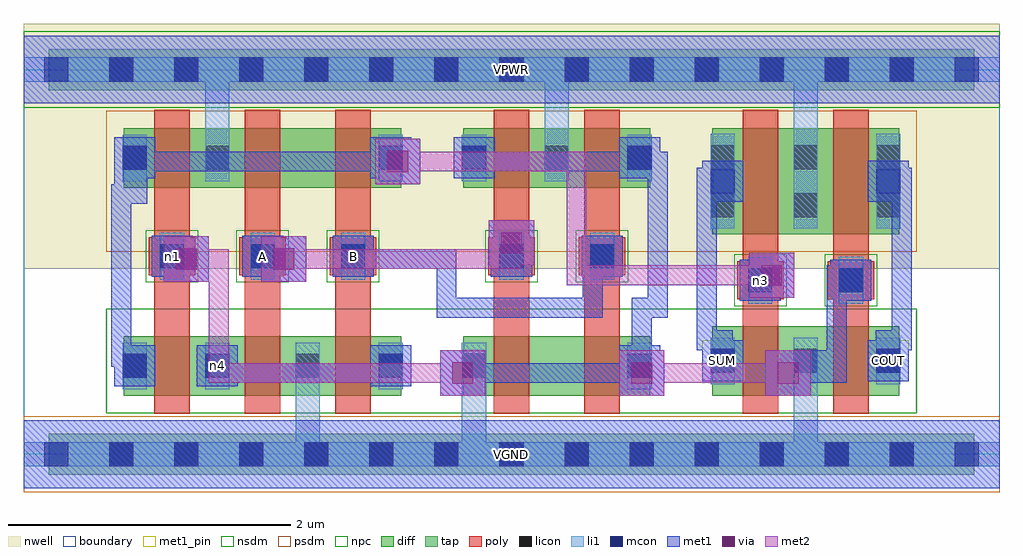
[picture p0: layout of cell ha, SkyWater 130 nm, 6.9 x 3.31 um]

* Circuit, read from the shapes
.subckt ha A B COUT SUM VGND VPWR n1 n3 n4
XM1 n4 n1 n3 VGND sky130_fd_pr__nfet_01v8 w=0.42 l=0.25
XM2 VGND A n4 VGND sky130_fd_pr__nfet_01v8 w=0.42 l=0.25
XM3 n4 B VGND VGND sky130_fd_pr__nfet_01v8 w=0.42 l=0.25
XM4 n2 A VGND VGND sky130_fd_pr__nfet_01v8 w=0.42 l=0.25
XM5 n1 B n2 VGND sky130_fd_pr__nfet_01v8 w=0.42 l=0.25
XM6 VGND n3 SUM VGND sky130_fd_pr__nfet_01v8 w=0.49 l=0.25
XM7 COUT n1 VGND VGND sky130_fd_pr__nfet_01v8 w=0.49 l=0.25
XM8 VPWR n1 n3 VPWR sky130_fd_pr__pfet_01v8 w=0.42 l=0.25
XM9 n5 A VPWR VPWR sky130_fd_pr__pfet_01v8 w=0.42 l=0.25
XM10 n3 B n5 VPWR sky130_fd_pr__pfet_01v8 w=0.42 l=0.25
XM11 VPWR A n1 VPWR sky130_fd_pr__pfet_01v8 w=0.42 l=0.25
XM12 n1 B VPWR VPWR sky130_fd_pr__pfet_01v8 w=0.42 l=0.25
XM13 VPWR n3 SUM VPWR sky130_fd_pr__pfet_01v8 w=0.75 l=0.25
XM14 COUT n1 VPWR VPWR sky130_fd_pr__pfet_01v8 w=0.75 l=0.25
.ends

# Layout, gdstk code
import gdstk
lib = gdstk.Library(unit=1e-6, precision=1e-09)
def R(c, l, rs):  # rectangles x0, y0, x1, y1
    for r in rs: c.add(gdstk.rectangle(r[:2], r[2:], *l))
def A(c, l, x, y, w, h, nx, ny, dx, dy):  # array of equal rectangles
    R(c, l, [(x+i*dx, y+j*dy, x+i*dx+w, y+j*dy+h) for i in range(nx) for j in range(ny)])
nwell = (64, 20)
diff = (65, 20)
tap = (65, 44)
poly = (66, 20)
licon = (66, 44)
li1 = (67, 20)
mcon = (67, 44)
met1_pin = (68, 16)
met1 = (68, 20)
via = (68, 44)
met2 = (69, 20)
nsdm = (93, 44)
psdm = (94, 20)
npc = (95, 20)
boundary = (235, 4)

c_ha = lib.new_cell('ha')
R(c_ha, nwell, [(0,1.31,6.9,3.045)])
R(c_ha, diff, [(0.71,0.415,2.67,0.835), (3.11,0.415,4.43,0.835), (4.87,0.415,6.19,0.905), (4.87,1.555,6.19,2.305), (0.71,1.885,2.67,2.305), (3.11,1.885,4.43,2.305)])
R(c_ha, tap, [(0.18,-0.145,6.72,0.145), (0.18,2.575,6.72,2.865)])
A(c_ha, poly, 0.925, 0.285, 0.25, 2.15, 3, 1, 0.64, 0)
A(c_ha, poly, 0.885, 1.265, 0.33, 0.27, 3, 1, 0.64, 0)
R(c_ha, poly, [(3.325,0.285,3.575,2.435), (3.965,0.285,4.215,2.435), (5.085,0.285,5.335,2.435), (5.725,0.285,5.975,2.435), (5.045,1.095,5.375,1.365), (5.685,1.095,6.015,1.365), (3.285,1.265,3.615,1.535), (3.925,1.265,4.255,1.535)])
A(c_ha, licon, 0.605, -0.085, 0.17, 0.17, 13, 2, 0.46, 2.72)
A(c_ha, licon, 4.86, 0.575, 0.17, 0.17, 3, 2, 0.585, 1.1)
A(c_ha, licon, 0.965, 1.315, 0.17, 0.17, 3, 1, 0.64, 0)
A(c_ha, licon, 3.1, 2.01, 0.17, 0.17, 3, 1, 0.585, 0)
A(c_ha, licon, 4.86, 2.015, 0.17, 0.17, 3, 1, 0.585, 0)
R(c_ha, licon, [(0.7,0.54,0.87,0.71), (1.285,0.54,1.455,0.71), (1.925,0.54,2.095,0.71), (2.51,0.54,2.68,0.71), (3.1,0.54,3.27,0.71), (4.27,0.54,4.44,0.71), (5.125,1.145,5.295,1.315), (5.765,1.145,5.935,1.315), (3.365,1.315,3.535,1.485), (4.005,1.315,4.175,1.485), (0.7,2.01,0.87,2.18), (1.285,2.01,1.455,2.18), (2.51,2.01,2.68,2.18)])
A(c_ha, li1, 4.86, 0.495, 0.17, 0.33, 3, 1, 0.585, 0)
A(c_ha, li1, 0.965, 1.235, 0.17, 0.33, 3, 1, 0.64, 0)
A(c_ha, li1, 4.86, 1.595, 0.17, 0.67, 3, 1, 0.585, 0)
A(c_ha, li1, 3.1, 1.93, 0.17, 0.33, 3, 1, 0.585, 0)
R(c_ha, li1, [(0,-0.085,6.9,0.085), (1.925,-0.085,2.095,0.79), (3.1,-0.085,3.27,0.79), (5.445,-0.085,5.615,0.825), (0.7,0.46,0.87,0.79), (1.285,0.46,1.455,0.79), (1.925,0.46,2.095,0.79), (2.51,0.46,2.68,0.79), (3.1,0.46,3.27,0.79), (4.27,0.46,4.44,0.79), (5.125,1.065,5.295,1.395), (5.765,1.065,5.935,1.395), (3.365,1.235,3.535,1.565), (4.005,1.235,4.175,1.565), (5.445,1.595,5.615,2.805), (0.7,1.93,0.87,2.26), (1.285,1.93,1.455,2.26), (1.285,1.93,1.455,2.805), (2.51,1.93,2.68,2.26), (3.685,1.93,3.855,2.805), (0,2.635,6.9,2.805)])
A(c_ha, mcon, 0.145, -0.085, 0.17, 0.17, 15, 2, 0.46, 2.72)
A(c_ha, mcon, 0.965, 1.315, 0.17, 0.17, 3, 1, 0.64, 0)
R(c_ha, mcon, [(0.7,0.54,0.87,0.71), (1.285,0.54,1.455,0.71), (2.51,0.54,2.68,0.71), (4.27,0.54,4.44,0.71), (4.86,0.575,5.03,0.745), (6.03,0.575,6.2,0.745), (5.125,1.145,5.295,1.315), (5.765,1.145,5.935,1.315), (3.365,1.315,3.535,1.485), (4.005,1.315,4.175,1.485), (4.86,1.845,5.03,2.015), (6.03,1.845,6.2,2.015), (0.7,2.01,0.87,2.18), (2.51,2.01,2.68,2.18), (3.1,2.01,3.27,2.18), (4.27,2.01,4.44,2.18)])
R(c_ha, met1_pin, [(0,-0.24,6.9,0.24), (4.8,0.515,5.09,0.805), (5.97,0.515,6.26,0.805), (1.545,1.255,1.835,1.545), (2.185,1.255,2.475,1.545), (0,2.48,6.9,2.96)])
A(c_ha, met1, 0.905, 1.255, 0.29, 0.29, 3, 1, 0.64, 0)
R(c_ha, met1, [(0,-0.24,6.9,0.24), (2.945,0.415,3.265,0.735), (4.21,0.415,4.53,0.735), (5.245,0.415,5.565,0.735), (0.64,0.48,0.93,0.77), (1.225,0.48,1.515,0.77), (2.45,0.48,2.74,0.77), (4.21,0.48,4.5,0.77), (1.31,0.505,1.45,0.645), (1.31,0.505,2.6,0.645), (2.46,0.505,2.6,0.645), (3.035,0.505,4.44,0.645), (4.3,0.505,4.44,0.645), (4.3,0.505,4.44,1.105), (5.335,0.505,5.82,0.645), (5.565,0.505,5.68,0.735), (5.68,0.505,5.82,1.335), (4.8,0.515,5.09,0.805), (5.97,0.515,6.26,0.805), (0.62,0.62,0.875,0.76), (0.62,0.62,0.76,1.91), (0.735,0.62,0.875,0.76), (4.875,0.62,5.015,0.76), (4.875,0.62,5.015,0.875), (6.025,0.62,6.165,0.76), (6.025,0.62,6.165,0.875), (4.76,0.735,5.015,0.875), (4.76,0.735,4.9,2.025), (6.025,0.735,6.28,0.875), (6.14,0.735,6.28,2.025), (2.92,0.965,3.06,1.45), (2.92,0.965,4.095,1.105), (3.955,0.965,4.095,1.45), (4.3,0.965,4.555,1.105), (4.415,0.965,4.555,2.14), (5.065,1.085,5.355,1.375), (5.705,1.085,5.995,1.375), (5.13,1.105,5.45,1.425), (5.105,1.195,5.245,1.335), (5.105,1.195,5.36,1.335), (5.68,1.195,5.935,1.335), (5.795,1.195,5.935,1.335), (0.99,1.22,1.31,1.54), (1.68,1.22,2,1.54), (3.305,1.255,3.595,1.545), (3.945,1.255,4.235,1.545), (0.965,1.31,1.105,1.45), (0.965,1.31,1.22,1.45), (1.655,1.31,1.795,1.45), (1.655,1.31,1.91,1.45), (2.23,1.31,2.37,1.45), (2.23,1.31,3.06,1.45), (3.38,1.31,3.52,1.45), (3.38,1.31,3.52,1.565), (3.955,1.31,4.095,1.45), (3.29,1.335,3.61,1.655), (0.62,1.77,0.875,1.91), (0.735,1.77,0.875,2.14), (4.8,1.785,5.09,2.075), (5.97,1.785,6.26,2.075), (4.76,1.885,5.015,2.025), (4.875,1.885,5.015,2.025), (6.025,1.885,6.165,2.025), (6.025,1.885,6.28,2.025), (0.64,1.91,0.875,1.95), (0.64,1.91,0.76,1.95), (2.485,1.91,2.805,2.23), (0.64,1.95,0.93,2.24), (2.45,1.95,2.74,2.24), (3.04,1.95,3.33,2.24), (4.21,1.95,4.5,2.24), (0.735,2,0.875,2.14), (0.735,2,2.715,2.14), (2.575,2,2.715,2.14), (3.15,2,3.29,2.14), (3.15,2,4.44,2.14), (4.3,2,4.44,2.14), (4.3,2,4.555,2.14), (0,2.48,6.9,2.96)])
R(c_ha, via, [(3.03,0.5,3.18,0.65), (4.295,0.5,4.445,0.65), (5.33,0.5,5.48,0.65), (5.215,1.19,5.365,1.34), (1.075,1.305,1.225,1.455), (1.765,1.305,1.915,1.455), (3.375,1.42,3.525,1.57), (2.57,1.995,2.72,2.145)])
R(c_ha, met2, [(2.945,0.415,3.265,0.735), (4.21,0.415,4.53,0.735), (5.245,0.415,5.565,0.735), (1.31,0.505,1.45,1.45), (1.31,0.505,3.175,0.645), (4.3,0.505,5.475,0.645), (5.13,1.105,5.45,1.425), (3.84,1.195,5.36,1.335), (3.84,1.195,3.98,2.14), (0.99,1.22,1.31,1.54), (1.68,1.22,2,1.54), (1.08,1.31,1.45,1.45), (1.77,1.31,3.52,1.45), (3.38,1.31,3.52,1.565), (3.29,1.335,3.61,1.655), (2.485,1.91,2.805,2.23), (2.575,2,3.98,2.14)])
R(c_ha, nsdm, [(0.585,0.29,6.315,1.03), (0,2.45,6.9,2.99)])
R(c_ha, psdm, [(0,-0.27,6.9,0.27), (0.585,1.43,6.315,2.43)])
A(c_ha, npc, 0.865, 1.215, 0.37, 0.37, 3, 1, 0.64, 0)
R(c_ha, npc, [(5.025,1.045,5.395,1.415), (5.665,1.045,6.035,1.415), (3.265,1.215,3.635,1.585), (3.905,1.215,4.275,1.585)])
R(c_ha, boundary, [(0,0,6.9,2.72)])
c_ha.add(gdstk.Label('n1', (1.05,1.4), layer=67, texttype=5))
c_ha.add(gdstk.Label('n3', (5.21,1.23), layer=67, texttype=5))
c_ha.add(gdstk.Label('n4', (1.37,0.625), layer=67, texttype=5))
c_ha.add(gdstk.Label('A', (1.69,1.4), layer=68, texttype=5))
c_ha.add(gdstk.Label('B', (2.33,1.4), layer=68, texttype=5))
c_ha.add(gdstk.Label('SUM', (4.945,0.66), layer=68, texttype=5))
c_ha.add(gdstk.Label('COUT', (6.115,0.66), layer=68, texttype=5))
c_ha.add(gdstk.Label('VPWR', (3.45,2.72), layer=68, texttype=5))
c_ha.add(gdstk.Label('VGND', (3.45,0), layer=68, texttype=5))
c_ha.add(gdstk.Label('A', (1.69,1.4), layer=68, texttype=16))
c_ha.add(gdstk.Label('B', (2.33,1.4), layer=68, texttype=16))
c_ha.add(gdstk.Label('SUM', (4.945,0.66), layer=68, texttype=16))
c_ha.add(gdstk.Label('COUT', (6.115,0.66), layer=68, texttype=16))
c_ha.add(gdstk.Label('VPWR', (3.45,2.72), layer=68, texttype=16))
c_ha.add(gdstk.Label('VGND', (3.45,0), layer=68, texttype=16))

lib.write_gds('ha.gds')
